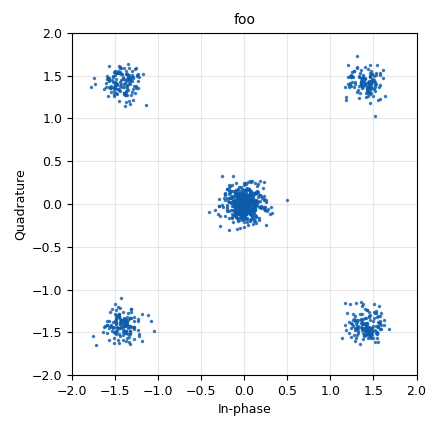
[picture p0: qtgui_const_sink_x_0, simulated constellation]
options:
  parameters:
    author: Udp
    generate_options: qt_gui
    id: top_block
    output_language: python
  states: {}

blocks:
- name: EbN0
  id: variable_qtgui_range
  parameters:
    label: 'Energy bit '
    start: '1'
    step: '1'
    stop: '11'
    value: '10'
  states: {}
- name: const
  id: variable
  parameters:
    value: digital.constellation_bpsk(), digital.constellation_qpsk(), digital.constellation_8psk()
  states: {}
- name: const_type
  id: variable
  parameters:
    value: '1'
  states: {}
- name: samp_rate
  id: variable
  parameters:
    value: '100000'
  states: {}
- name: analog_noise_source_x_0
  id: analog_noise_source_x
  parameters:
    amp: 1.0 / math.sqrt(2.0 *const[const_type].bits_per_symbol() * 10**(EbN0/10))
    noise_type: analog.GR_GAUSSIAN
    seed: '42'
    type: complex
  states: {}
- name: analog_random_source_x_0
  id: analog_random_source_x
  parameters:
    max: '8'
    min: '0'
    num_samps: '10000000'
    repeat: 'False'
    type: byte
  states: {}
- name: blocks_add_xx_0
  id: blocks_add_xx
  parameters:
    type: complex
  states: {}
- name: blocks_throttle2_1
  id: blocks_throttle2
  parameters:
    samples_per_second: samp_rate
    type: byte
  states: {}
- name: digital_chunks_to_symbols_xx_0
  id: digital_chunks_to_symbols_xx
  parameters:
    dimension: '1'
    in_type: byte
    out_type: complex
    symbol_table: const[const_type].points()
  states: {}
- name: digital_constellation_decoder_cb_0
  id: digital_constellation_decoder_cb
  parameters:
    constellation: const[const_type].base()
  states: {}
- name: fec_ber_bf_0
  id: fec_ber_bf
  parameters:
    berlimit: '-10'
    berminerrors: int(1e7)
    test_mode: 'False'
  states: {}
- name: import_0
  id: import
  parameters:
    imports: import math
  states: {}
- name: qtgui_const_sink_x_0
  id: qtgui_const_sink_x
  parameters:
    name: foo
    size: '1024'
    type: complex
  states: {}
- name: qtgui_number_sink_0
  id: qtgui_number_sink
  parameters:
    autoscale: 'True'
    graph_type: qtgui.NUM_GRAPH_HORIZ
    min: '0'
    type: float
  states: {}

connections:
- [analog_noise_source_x_0, '0', blocks_add_xx_0, '1']
- [analog_random_source_x_0, '0', blocks_throttle2_1, '0']
- [analog_random_source_x_0, '0', digital_chunks_to_symbols_xx_0, '0']
- [blocks_add_xx_0, '0', digital_constellation_decoder_cb_0, '0']
- [blocks_add_xx_0, '0', qtgui_const_sink_x_0, '0']
- [blocks_throttle2_1, '0', fec_ber_bf_0, '0']
- [digital_chunks_to_symbols_xx_0, '0', blocks_add_xx_0, '0']
- [digital_constellation_decoder_cb_0, '0', fec_ber_bf_0, '1']
- [fec_ber_bf_0, '0', qtgui_number_sink_0, '0']

metadata:
  file_format: 1
  grc_version: 3.10.12.0
